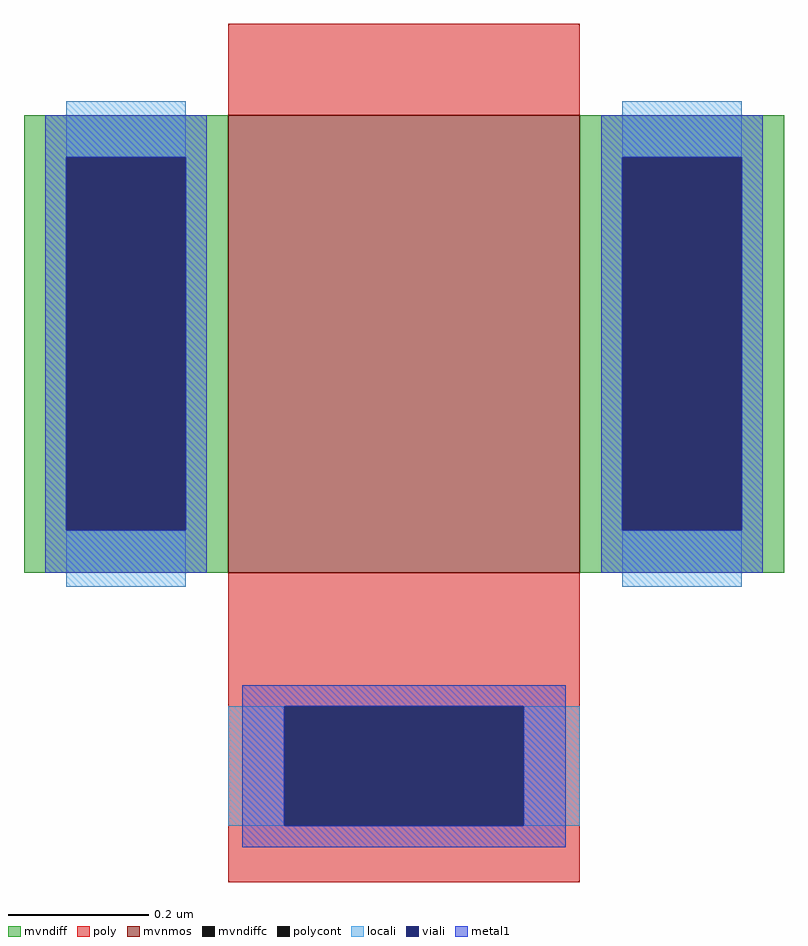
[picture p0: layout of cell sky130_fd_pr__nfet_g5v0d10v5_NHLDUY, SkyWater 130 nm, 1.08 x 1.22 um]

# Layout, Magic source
magic
tech sky130A
<< mvnmos >>
rect -25 -17 25 48
<< mvndiff >>
rect -54 42 -25 48
rect -54 -11 -48 42
rect -31 -11 -25 42
rect -54 -17 -25 -11
rect 25 42 54 48
rect 25 -11 31 42
rect 48 -11 54 42
rect 25 -17 54 -11
<< mvndiffc >>
rect -48 -11 -31 42
rect 31 -11 48 42
<< poly >>
rect -25 48 25 61
rect -25 -36 25 -17
rect -25 -53 -17 -36
rect 17 -53 25 -36
rect -25 -61 25 -53
<< polycont >>
rect -17 -53 17 -36
<< locali >>
rect -48 42 -31 50
rect -48 -19 -31 -11
rect 31 42 48 50
rect 31 -19 48 -11
rect -25 -53 -17 -36
rect 17 -53 25 -36
<< viali >>
rect -48 -11 -31 42
rect 31 -11 48 42
rect -17 -53 17 -36
<< metal1 >>
rect -51 42 -28 48
rect -51 -11 -48 42
rect -31 -11 -28 42
rect -51 -17 -28 -11
rect 28 42 51 48
rect 28 -11 31 42
rect 48 -11 51 42
rect 28 -17 51 -11
rect -23 -36 23 -33
rect -23 -53 -17 -36
rect 17 -53 23 -36
rect -23 -56 23 -53
<< properties >>
string gencell sky130_fd_pr__nfet_g5v0d10v5
string library sky130
string parameters w 0.650 l 0.50 m 1 nf 1 diffcov 100 polycov 100 guard 0 glc 1 grc 1 gtc 1 gbc 1 tbcov 100 rlcov 100 topc 0 botc 1 poverlap 0 doverlap 0 lmin 0.50 wmin 0.42 compatible {sky130_fd_pr__nfet_01v8 sky130_fd_pr__nfet_01v8_lvt  sky130_fd_bs_flash__special_sonosfet_star  sky130_fd_pr__nfet_g5v0d10v5 sky130_fd_pr__nfet_05v0_nvt  sky130_fd_pr__nfet_03v3_nvt} full_metal 1 viasrc 100 viadrn 100 viagate 100 viagb 0 viagr 0 viagl 0 viagt 0
<< end >>
